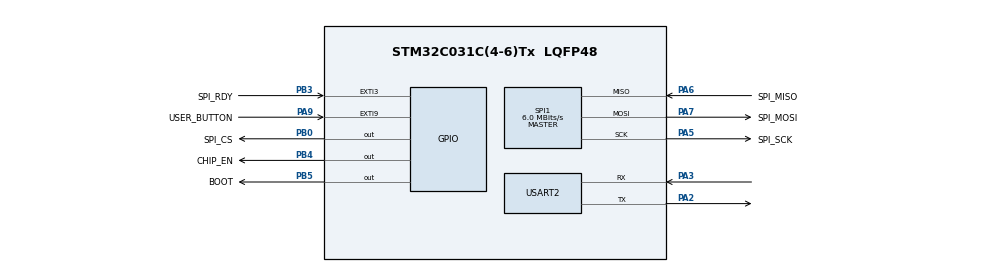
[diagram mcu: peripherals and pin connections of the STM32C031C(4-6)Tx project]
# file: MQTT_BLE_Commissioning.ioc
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Mcu.Family=STM32C0
Mcu.Name=STM32C031C(4-6)Tx
Mcu.Package=LQFP48
NVIC.EXTI2_3_IRQn=true\:0\:0\:false\:false\:true\:true\:true\:true
NVIC.EXTI4_15_IRQn=true\:0\:0\:false\:false\:true\:true\:true\:true
NVIC.TIM1_BRK_UP_TRG_COM_IRQn=true\:0\:0\:false\:false\:true\:true\:true\:true
PA2.GPIO_Speed=GPIO_SPEED_FREQ_VERY_HIGH
PA2.Mode=Asynchronous
PA2.Signal=USART2_TX
PA3.GPIO_Speed=GPIO_SPEED_FREQ_VERY_HIGH
PA3.Mode=Asynchronous
PA3.Signal=USART2_RX
PA5.GPIO_Label=SPI_SCK
PA5.GPIO_Speed=GPIO_SPEED_FREQ_VERY_HIGH
PA5.Mode=Full_Duplex_Master
PA5.Signal=SPI1_SCK
PA6.GPIO_Label=SPI_MISO
PA6.GPIO_Speed=GPIO_SPEED_FREQ_VERY_HIGH
PA6.Mode=Full_Duplex_Master
PA6.Signal=SPI1_MISO
PA7.GPIO_Label=SPI_MOSI
PA7.GPIO_Speed=GPIO_SPEED_FREQ_VERY_HIGH
PA7.Mode=Full_Duplex_Master
PA7.Signal=SPI1_MOSI
PA9.GPIO_Label=USER_BUTTON
PA9.GPIO_ModeDefaultEXTI=GPIO_MODE_IT_FALLING
PA9.GPIO_PuPd=GPIO_PULLUP
PA9.Signal=GPXTI9
PB0.GPIO_Label=SPI_CS
PB0.GPIO_Speed=GPIO_SPEED_FREQ_VERY_HIGH
PB0.Signal=GPIO_Output
PB3.GPIO_Label=SPI_RDY
PB3.GPIO_ModeDefaultEXTI=GPIO_MODE_IT_RISING_FALLING
PB3.Signal=GPXTI3
PB4.GPIO_Label=CHIP_EN
PB4.GPIO_Speed=GPIO_SPEED_FREQ_HIGH
PB4.Signal=GPIO_Output
PB5.GPIO_Label=BOOT
PB5.GPIO_PuPd=GPIO_NOPULL
PB5.GPIO_Speed=GPIO_SPEED_FREQ_HIGH
PB5.Signal=GPIO_Output
PF0-OSC_IN\ (PF0).Mode=HSE-External-Oscillator
PF0-OSC_IN\ (PF0).Signal=RCC_OSC_IN
PF1-OSC_OUT\ (PF1).Mode=HSE-External-Oscillator
PF1-OSC_OUT\ (PF1).Signal=RCC_OSC_OUT
ProjectManager.HeapSize=0x200
ProjectManager.StackSize=0x400
ProjectManager.TargetToolchain=STM32CubeIDE
RCC.ADCFreq_Value=48000000
RCC.AHBFreq_Value=48000000
RCC.CortexFreq_Value=48000000
RCC.EXTERNAL_CLOCK_VALUE=12288000
RCC.HCLKFreq_Value=48000000
RCC.HSE_VALUE=48000000
RCC.HSISYSCLKDivider=RCC_HSI_DIV1
RCC.HSI_VALUE=48000000
RCC.LSE_VALUE=32768
RCC.SYSCLKFreq_VALUE=48000000
RCC.SYSCLKSource=RCC_SYSCLKSOURCE_HSE
SPI1.BaudRatePrescaler=SPI_BAUDRATEPRESCALER_8
SPI1.CalculateBaudRate=6.0 MBits/s
SPI1.Direction=SPI_DIRECTION_2LINES
SPI1.Mode=SPI_MODE_MASTER
SPI1.VirtualType=VM_MASTER
TIM1.Period=49999
TIM1.Prescaler=9599
USART2.VirtualMode-Asynchronous=VM_ASYNC
VP_TIM1_VS_ClockSourceINT.Mode=Internal
board=custom

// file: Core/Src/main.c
/* USER CODE BEGIN Header */
/**
 ******************************************************************************
 * @file           : main.c
 * @brief          : Main program body
 ******************************************************************************
 * @attention
 *
 * Copyright (c) 2025 STMicroelectronics.
 * All rights reserved.
 *
 * This software is licensed under terms that can be found in the LICENSE file
 * in the root directory of this software component.
 * If no LICENSE file comes with this software, it is provided AS-IS.
 *
 ******************************************************************************
 */
/* USER CODE END Header */
#include "main.h"

/* USER CODE BEGIN Includes */
#include "spi_iface.h"
#include "mqtt.h"
#include "ble.h"

/* USER CODE END Includes */

/* USER CODE BEGIN PD */
#define EVT_WIFI_CONNECT                              (1<<0)
#define EVT_WIFI_DISCONNECT                       (1<<1)
#define EVT_WIFI_CONNECT_ERROR                    (1<<2)
#define EVT_MQTT_RECEIVED         (1<<3)
#define EVT_TIM_UPDATE                            (1<<4)
#define EVT_BLE_WRITE                           (1<<5)
#define EVT_WIFI_SCAN_END                           (1<<6)
#define EVT_MQTT_CONNECT                           (1<<7)
#define EVT_BLE_CONNECT                           (1<<8)

#define SET_EVENT_BIT(bit)     (event_bits |= (bit))
#define CLEAR_EVENT_BIT(bit)   (event_bits &= ~(bit))
#define CHECK_EVENT_BIT(bit)   ((event_bits & (bit)) != 0)

/* USER CODE END PD */

/* USER CODE BEGIN PV */
volatile uint8_t wifi_connected = 0;
volatile uint32_t event_bits = 0;
char *mqtt_data_received_ptr = NULL;
char *gatt_data_received_ptr = NULL;

#define COLOR_LEVEL_LIMIT 40
uint8_t color_red = 0, color_green = 0, color_blue = 0;
uint8_t color_red_s = 0, color_green_s = 0, color_blue_s = 0;
float color_scale = 10;

/* USER CODE END PV */

void SystemClock_Config(void);
static void MX_GPIO_Init(void);
static void MX_SPI1_Init(void);
static void MX_USART2_UART_Init(void);
static void MX_TIM1_Init(void);
/* USER CODE BEGIN PFP */
static void report_callback(char *report, int32_t report_len);
void parse_mqtt_received_event(char *data);
int parse_rgb(const char *data, uint8_t *red, uint8_t *green, uint8_t *blue);
int parse_level(const char *data, uint8_t *level);

/* USER CODE END PFP */

/* USER CODE BEGIN 0 */
#if defined(__ICCARM__)
size_t __write(int file, unsigned char const *ptr, size_t len)
{
	size_t idx;
	unsigned char const *pdata = ptr;
	/* USER CODE BEGIN __write_1 */

	/* USER CODE END __write_1 */

	HAL_UART_Transmit(&huart2, pdata, len, 10000);
	return len;
	/* USER CODE BEGIN __write_End */

	/* USER CODE END __write_End */
}
#else

#if defined ( __GNUC__) && !defined(__clang__)
/* With GCC, small printf (option LD Linker->Libraries->Small printf
   set to 'Yes') calls __io_putchar() */
#define PUTCHAR_PROTOTYPE int __io_putchar(int ch)
#else
#define PUTCHAR_PROTOTYPE int fputc(int ch, FILE *f)
#endif

PUTCHAR_PROTOTYPE
{
	/* USER CODE BEGIN PUTCHAR_PROTOTYPE_1 */

	/* USER CODE END PUTCHAR_PROTOTYPE_1 */
	while (!LL_USART_IsActiveFlag_TXE(USART2)){}

	LL_USART_ClearFlag_TC(USART2);
	LL_USART_TransmitData8(USART2, ch);

	return ch;
	/* USER CODE BEGIN PUTCHAR_PROTOTYPE_End */

	/* USER CODE END PUTCHAR_PROTOTYPE_End */
}
#endif /* __ICCARM__ */

/* USER CODE END 0 */

int main(void)
{

  /* MCU Configuration--------------------------------------------------------*/

  /* Reset of all peripherals, Initializes the Flash interface and the Systick. */
  LL_APB2_GRP1_EnableClock(LL_APB2_GRP1_PERIPH_SYSCFG);
  LL_APB1_GRP1_EnableClock(LL_APB1_GRP1_PERIPH_PWR);

  /* SysTick_IRQn interrupt configuration */
  NVIC_SetPriority(SysTick_IRQn, 3);

  /* Configure the system clock */
  SystemClock_Config();

  /* Initialize all configured peripherals */
  MX_GPIO_Init();
  MX_SPI1_Init();
  MX_USART2_UART_Init();
  MX_TIM1_Init();
  /* USER CODE BEGIN 2 */
	int32_t ret = 0;
	char *resp = NULL;

	ret = spi_iface_init(&report_callback);

	spi_iface_command("AT+PWR=0", &resp);
	free(resp);

	Wifi_Init();
	MQTT_Init();
	BLE_Init();

  /* USER CODE END 2 */

  /* Infinite loop */
  /* USER CODE BEGIN WHILE */
	char rssi_data[64] = {0};
	while (1)
	{
		if (CHECK_EVENT_BIT(EVT_WIFI_CONNECT))
		{
			Wifi_Connected();
			MQTT_Connect();
			CLEAR_EVENT_BIT(EVT_WIFI_CONNECT);
		}
		if (CHECK_EVENT_BIT(EVT_MQTT_CONNECT))
		{
			LL_TIM_ClearFlag_UPDATE(TIM1);
			LL_TIM_EnableIT_UPDATE(TIM1);
			LL_TIM_EnableCounter(TIM1);
			CLEAR_EVENT_BIT(EVT_MQTT_CONNECT);
		}
		if (CHECK_EVENT_BIT(EVT_MQTT_RECEIVED))
		{
			parse_mqtt_received_event(mqtt_data_received_ptr);

			color_red_s   = (uint8_t)(color_red   * color_scale);
			color_green_s = (uint8_t)(color_green * color_scale);
			color_blue_s  = (uint8_t)(color_blue  * color_scale);

			free(mqtt_data_received_ptr);
			mqtt_data_received_ptr = NULL;
			CLEAR_EVENT_BIT(EVT_MQTT_RECEIVED);
		}
		if (CHECK_EVENT_BIT(EVT_BLE_CONNECT))
		{
			CLEAR_EVENT_BIT(EVT_BLE_CONNECT);
		}
		if (CHECK_EVENT_BIT(EVT_BLE_WRITE))
		{
			BLE_Handle_Write(gatt_data_received_ptr);

			free(gatt_data_received_ptr);
			gatt_data_received_ptr = NULL;
			CLEAR_EVENT_BIT(EVT_BLE_WRITE);
		}
		if (CHECK_EVENT_BIT(EVT_WIFI_SCAN_END))
		{
			Wifi_Scan_End();
			CLEAR_EVENT_BIT(EVT_WIFI_SCAN_END);
		}
		if (CHECK_EVENT_BIT(EVT_TIM_UPDATE) && wifi_connected)
		{
			int rssi;

			spi_iface_command("AT+CWJAP?", &resp);

			char *last = strrchr(resp, ',');
			char *second_last = NULL;
			*last = '\0';
			second_last = strrchr(resp, ',');
			*last = ','; // restore string

			rssi = atoi(second_last + 1);
			free(resp);

			snprintf(rssi_data, 64, MQTT_RSSI_MSG, rssi);
			MQTT_Publish(MQTT_TOPIC_RSSI, (const char *) &rssi_data);
			CLEAR_EVENT_BIT(EVT_TIM_UPDATE);
		}
    /* USER CODE END WHILE */

	}
}

void SystemClock_Config(void)
{

  LL_FLASH_SetLatency(LL_FLASH_LATENCY_1);

  /* HSE configuration and activation */
  LL_RCC_HSE_Enable();
  while(LL_RCC_HSE_IsReady() != 1)
  {
  }

  /* Set AHB prescaler*/
  LL_RCC_SetAHBPrescaler(LL_RCC_HCLK_DIV_1);

  /* Sysclk activation on the HSE */
  LL_RCC_SetSysClkSource(LL_RCC_SYS_CLKSOURCE_HSE);
  while(LL_RCC_GetSysClkSource() != LL_RCC_SYS_CLKSOURCE_STATUS_HSE)
  {
  }

  /* Set APB1 prescaler*/
  LL_RCC_SetAPB1Prescaler(LL_RCC_APB1_DIV_1);
  LL_Init1msTick(48000000);
  /* Update CMSIS variable (which can be updated also through SystemCoreClockUpdate function) */
  LL_SetSystemCoreClock(48000000);
}

static void MX_SPI1_Init(void)
{

  LL_SPI_InitTypeDef SPI_InitStruct = {0};

  LL_GPIO_InitTypeDef GPIO_InitStruct = {0};

  LL_RCC_SetI2SClockSource(LL_RCC_I2S1_CLKSOURCE_SYSCLK);

  /* Peripheral clock enable */
  LL_APB2_GRP1_EnableClock(LL_APB2_GRP1_PERIPH_SPI1);

  LL_IOP_GRP1_EnableClock(LL_IOP_GRP1_PERIPH_GPIOA);
  /**SPI1 GPIO Configuration
  PA5   ------> SPI1_SCK
  PA6   ------> SPI1_MISO
  PA7   ------> SPI1_MOSI
  */
  GPIO_InitStruct.Pin = SPI_SCK_Pin;
  GPIO_InitStruct.Mode = LL_GPIO_MODE_ALTERNATE;
  GPIO_InitStruct.Speed = LL_GPIO_SPEED_FREQ_VERY_HIGH;
  GPIO_InitStruct.OutputType = LL_GPIO_OUTPUT_PUSHPULL;
  GPIO_InitStruct.Pull = LL_GPIO_PULL_NO;
  GPIO_InitStruct.Alternate = LL_GPIO_AF_0;
  LL_GPIO_Init(SPI_SCK_GPIO_Port, &GPIO_InitStruct);

  GPIO_InitStruct.Pin = SPI_MISO_Pin;
  GPIO_InitStruct.Mode = LL_GPIO_MODE_ALTERNATE;
  GPIO_InitStruct.Speed = LL_GPIO_SPEED_FREQ_VERY_HIGH;
  GPIO_InitStruct.OutputType = LL_GPIO_OUTPUT_PUSHPULL;
  GPIO_InitStruct.Pull = LL_GPIO_PULL_NO;
  GPIO_InitStruct.Alternate = LL_GPIO_AF_0;
  LL_GPIO_Init(SPI_MISO_GPIO_Port, &GPIO_InitStruct);

  GPIO_InitStruct.Pin = SPI_MOSI_Pin;
  GPIO_InitStruct.Mode = LL_GPIO_MODE_ALTERNATE;
  GPIO_InitStruct.Speed = LL_GPIO_SPEED_FREQ_VERY_HIGH;
  GPIO_InitStruct.OutputType = LL_GPIO_OUTPUT_PUSHPULL;
  GPIO_InitStruct.Pull = LL_GPIO_PULL_NO;
  GPIO_InitStruct.Alternate = LL_GPIO_AF_0;
  LL_GPIO_Init(SPI_MOSI_GPIO_Port, &GPIO_InitStruct);

  /* SPI1 parameter configuration*/
  SPI_InitStruct.TransferDirection = LL_SPI_FULL_DUPLEX;
  SPI_InitStruct.Mode = LL_SPI_MODE_MASTER;
  SPI_InitStruct.DataWidth = LL_SPI_DATAWIDTH_8BIT;
  SPI_InitStruct.ClockPolarity = LL_SPI_POLARITY_LOW;
  SPI_InitStruct.ClockPhase = LL_SPI_PHASE_1EDGE;
  SPI_InitStruct.NSS = LL_SPI_NSS_SOFT;
  SPI_InitStruct.BaudRate = LL_SPI_BAUDRATEPRESCALER_DIV8;
  SPI_InitStruct.BitOrder = LL_SPI_MSB_FIRST;
  SPI_InitStruct.CRCCalculation = LL_SPI_CRCCALCULATION_DISABLE;
  SPI_InitStruct.CRCPoly = 7;
  LL_SPI_Init(SPI1, &SPI_InitStruct);
  LL_SPI_SetStandard(SPI1, LL_SPI_PROTOCOL_MOTOROLA);
  LL_SPI_EnableNSSPulseMgt(SPI1);

}

static void MX_TIM1_Init(void)
{

  LL_TIM_InitTypeDef TIM_InitStruct = {0};

  /* Peripheral clock enable */
  LL_APB2_GRP1_EnableClock(LL_APB2_GRP1_PERIPH_TIM1);

  /* TIM1 interrupt Init */
  NVIC_SetPriority(TIM1_BRK_UP_TRG_COM_IRQn, 0);
  NVIC_EnableIRQ(TIM1_BRK_UP_TRG_COM_IRQn);

  TIM_InitStruct.Prescaler = 9599;
  TIM_InitStruct.CounterMode = LL_TIM_COUNTERMODE_UP;
  TIM_InitStruct.Autoreload = 49999;
  TIM_InitStruct.ClockDivision = LL_TIM_CLOCKDIVISION_DIV1;
  TIM_InitStruct.RepetitionCounter = 0;
  LL_TIM_Init(TIM1, &TIM_InitStruct);
  LL_TIM_DisableARRPreload(TIM1);
  LL_TIM_SetClockSource(TIM1, LL_TIM_CLOCKSOURCE_INTERNAL);
  LL_TIM_SetTriggerOutput(TIM1, LL_TIM_TRGO_RESET);
  LL_TIM_SetTriggerOutput2(TIM1, LL_TIM_TRGO2_RESET);
  LL_TIM_DisableMasterSlaveMode(TIM1);

}

static void MX_USART2_UART_Init(void)
{

  LL_USART_InitTypeDef USART_InitStruct = {0};

  LL_GPIO_InitTypeDef GPIO_InitStruct = {0};

  /* Peripheral clock enable */
  LL_APB1_GRP1_EnableClock(LL_APB1_GRP1_PERIPH_USART2);

  LL_IOP_GRP1_EnableClock(LL_IOP_GRP1_PERIPH_GPIOA);
  /**USART2 GPIO Configuration
  PA2   ------> USART2_TX
  PA3   ------> USART2_RX
  */
  GPIO_InitStruct.Pin = LL_GPIO_PIN_2;
  GPIO_InitStruct.Mode = LL_GPIO_MODE_ALTERNATE;
  GPIO_InitStruct.Speed = LL_GPIO_SPEED_FREQ_VERY_HIGH;
  GPIO_InitStruct.OutputType = LL_GPIO_OUTPUT_PUSHPULL;
  GPIO_InitStruct.Pull = LL_GPIO_PULL_NO;
  GPIO_InitStruct.Alternate = LL_GPIO_AF_1;
  LL_GPIO_Init(GPIOA, &GPIO_InitStruct);

  GPIO_InitStruct.Pin = LL_GPIO_PIN_3;
  GPIO_InitStruct.Mode = LL_GPIO_MODE_ALTERNATE;
  GPIO_InitStruct.Speed = LL_GPIO_SPEED_FREQ_VERY_HIGH;
  GPIO_InitStruct.OutputType = LL_GPIO_OUTPUT_PUSHPULL;
  GPIO_InitStruct.Pull = LL_GPIO_PULL_NO;
  GPIO_InitStruct.Alternate = LL_GPIO_AF_1;
  LL_GPIO_Init(GPIOA, &GPIO_InitStruct);

  USART_InitStruct.PrescalerValue = LL_USART_PRESCALER_DIV1;
  USART_InitStruct.BaudRate = 115200;
  USART_InitStruct.DataWidth = LL_USART_DATAWIDTH_8B;
  USART_InitStruct.StopBits = LL_USART_STOPBITS_1;
  USART_InitStruct.Parity = LL_USART_PARITY_NONE;
  USART_InitStruct.TransferDirection = LL_USART_DIRECTION_TX_RX;
  USART_InitStruct.HardwareFlowControl = LL_USART_HWCONTROL_NONE;
  USART_InitStruct.OverSampling = LL_USART_OVERSAMPLING_16;
  LL_USART_Init(USART2, &USART_InitStruct);
  LL_USART_ConfigAsyncMode(USART2);

  LL_USART_Enable(USART2);

  /* Polling USART2 initialisation */
  while((!(LL_USART_IsActiveFlag_TEACK(USART2))) || (!(LL_USART_IsActiveFlag_REACK(USART2))))
  {
  }

}

static void MX_GPIO_Init(void)
{
  LL_EXTI_InitTypeDef EXTI_InitStruct = {0};
  LL_GPIO_InitTypeDef GPIO_InitStruct = {0};

  /* GPIO Ports Clock Enable */
  LL_IOP_GRP1_EnableClock(LL_IOP_GRP1_PERIPH_GPIOF);
  LL_IOP_GRP1_EnableClock(LL_IOP_GRP1_PERIPH_GPIOA);
  LL_IOP_GRP1_EnableClock(LL_IOP_GRP1_PERIPH_GPIOB);

  /**/
  LL_GPIO_ResetOutputPin(SPI_CS_GPIO_Port, SPI_CS_Pin);

  /**/
  LL_GPIO_ResetOutputPin(CHIP_EN_GPIO_Port, CHIP_EN_Pin);

  /**/
  LL_GPIO_ResetOutputPin(BOOT_GPIO_Port, BOOT_Pin);

  /**/
  GPIO_InitStruct.Pin = SPI_CS_Pin;
  GPIO_InitStruct.Mode = LL_GPIO_MODE_OUTPUT;
  GPIO_InitStruct.Speed = LL_GPIO_SPEED_FREQ_VERY_HIGH;
  GPIO_InitStruct.OutputType = LL_GPIO_OUTPUT_PUSHPULL;
  GPIO_InitStruct.Pull = LL_GPIO_PULL_NO;
  LL_GPIO_Init(SPI_CS_GPIO_Port, &GPIO_InitStruct);

  /**/
  GPIO_InitStruct.Pin = CHIP_EN_Pin;
  GPIO_InitStruct.Mode = LL_GPIO_MODE_OUTPUT;
  GPIO_InitStruct.Speed = LL_GPIO_SPEED_FREQ_HIGH;
  GPIO_InitStruct.OutputType = LL_GPIO_OUTPUT_PUSHPULL;
  GPIO_InitStruct.Pull = LL_GPIO_PULL_NO;
  LL_GPIO_Init(CHIP_EN_GPIO_Port, &GPIO_InitStruct);

  /**/
  GPIO_InitStruct.Pin = BOOT_Pin;
  GPIO_InitStruct.Mode = LL_GPIO_MODE_OUTPUT;
  GPIO_InitStruct.Speed = LL_GPIO_SPEED_FREQ_HIGH;
  GPIO_InitStruct.OutputType = LL_GPIO_OUTPUT_PUSHPULL;
  GPIO_InitStruct.Pull = LL_GPIO_PULL_NO;
  LL_GPIO_Init(BOOT_GPIO_Port, &GPIO_InitStruct);

  /**/
  EXTI_InitStruct.Line_0_31 = LL_EXTI_LINE_9;
  EXTI_InitStruct.LineCommand = ENABLE;
  EXTI_InitStruct.Mode = LL_EXTI_MODE_IT;
  EXTI_InitStruct.Trigger = LL_EXTI_TRIGGER_FALLING;
  LL_EXTI_Init(&EXTI_InitStruct);

  /**/
  EXTI_InitStruct.Line_0_31 = LL_EXTI_LINE_3;
  EXTI_InitStruct.LineCommand = ENABLE;
  EXTI_InitStruct.Mode = LL_EXTI_MODE_IT;
  EXTI_InitStruct.Trigger = LL_EXTI_TRIGGER_RISING_FALLING;
  LL_EXTI_Init(&EXTI_InitStruct);

  /**/
  LL_GPIO_SetPinMode(USER_BUTTON_GPIO_Port, USER_BUTTON_Pin, LL_GPIO_MODE_INPUT);

  /**/
  LL_GPIO_SetPinMode(SPI_RDY_GPIO_Port, SPI_RDY_Pin, LL_GPIO_MODE_INPUT);

  /**/
  LL_GPIO_SetPinPull(USER_BUTTON_GPIO_Port, USER_BUTTON_Pin, LL_GPIO_PULL_UP);

  /**/
  LL_GPIO_SetPinPull(SPI_RDY_GPIO_Port, SPI_RDY_Pin, LL_GPIO_PULL_NO);

  /**/
  LL_EXTI_SetEXTISource(LL_EXTI_CONFIG_PORTA, LL_EXTI_CONFIG_LINE9);

  /**/
  LL_EXTI_SetEXTISource(LL_EXTI_CONFIG_PORTB, LL_EXTI_CONFIG_LINE3);

  /* EXTI interrupt init*/
  NVIC_SetPriority(EXTI2_3_IRQn, 0);
  NVIC_EnableIRQ(EXTI2_3_IRQn);
  NVIC_SetPriority(EXTI4_15_IRQn, 0);
  NVIC_EnableIRQ(EXTI4_15_IRQn);

}

/* USER CODE BEGIN 4 */
static void report_callback(char *report, int32_t report_len)
{
	// ignore the 'busy' messages
	if (report_len == 14 && strncmp(report, "\r\nbusy p...\r\n", 14) == 0) {free(report); return;}

	printf("Report: %s", report);

	if (strncmp(report, "+CW:GOTIP\r\n", 12) == 0)
	{
		SET_EVENT_BIT(EVT_WIFI_CONNECT);
		wifi_connected = 1;
	}
	else if (strncmp(report, "+CW:DISCONNECTED", 16) == 0)
	{
		SET_EVENT_BIT(EVT_WIFI_DISCONNECT);
		wifi_connected = 0;
	}
	else if (strncmp(report, "+CWLAP", 6) == 0)
	{
		Wifi_Scan_Report(report);
	}
	else if (strncmp(report, "+CW:SCAN_DONE", 13) == 0)
	{
		SET_EVENT_BIT(EVT_WIFI_SCAN_END);
	}
	else if (strncmp(report, "+MQTT:SUBRECV", 13) == 0)
	{
		mqtt_data_received_ptr = calloc(report_len, 1);
		memcpy(mqtt_data_received_ptr, report, report_len);
		SET_EVENT_BIT(EVT_MQTT_RECEIVED);
	}
	else if (strncmp(report, "+MQTT:CONNECTED", 15) == 0)
	{
		SET_EVENT_BIT(EVT_MQTT_CONNECT);
	}
	else if (strncmp(report, "+BLE:CONNECTED:", 15) == 0)
	{
		SET_EVENT_BIT(EVT_BLE_CONNECT);
	}
	else if (strncmp(report, "+BLE:DISCONNECTED:", 18) == 0)
	{
	}
	else if (strncmp(report, "+BLE:GATTWRITE:", 15) == 0)
	{
		gatt_data_received_ptr = calloc(report_len, 1);
		memcpy(gatt_data_received_ptr, report, report_len);
		SET_EVENT_BIT(EVT_BLE_WRITE);
	}

	free(report);
}

int parse_rgb(const char *data, uint8_t *red, uint8_t *green, uint8_t *blue)
{
	int r = -1, g = -1, b = -1;
	const char *p;

	// Find "R"
	p = strstr(data, "\"R\"");
	if (p) {
		p = strchr(p, ':');
		if (p) r = atoi(p + 1);
	}

	// Find "G"
	p = strstr(data, "\"G\"");
	if (p) {
		p = strchr(p, ':');
		if (p) g = atoi(p + 1);
	}

	// Find "B"
	p = strstr(data, "\"B\"");
	if (p) {
		p = strchr(p, ':');
		if (p) b = atoi(p + 1);
	}

	if (r >= 0 && g >= 0 && b >= 0) {
		*red = (uint8_t)r;
		*green = (uint8_t)g;
		*blue = (uint8_t)b;
		return 1;
	}
	return 0;
}

/**
 * @brief Parse Level value from a string and assign to output variable.
 * @param data      Input string containing JSON with "Level" field.
 * @param level     Pointer to uint8_t for the Level value.
 * @return 1 if value found, 0 otherwise.
 */
int parse_level(const char *data, uint8_t *level)
{
	int lvl = -1;
	const char *p;

	// Find "Level"
	p = strstr(data, "\"Level\"");
	if (p) {
		p = strchr(p, ':');
		if (p) lvl = atoi(p + 1);
	}

	if (lvl >= 0) {
		*level = (uint8_t)lvl;
		return 1;
	}
	return 0;
}

void parse_mqtt_received_event(char *data)
{
	int is_rgb, is_lvl;
	uint8_t raw_red = 0, raw_green = 0, raw_blue = 0, raw_level = 0;

	is_rgb = parse_rgb(data, &raw_red, &raw_green, &raw_blue);
	is_lvl = parse_level(data, &raw_level);

	if (is_rgb ) {
		color_red   = raw_red;
		color_green = raw_green;
		color_blue  = raw_blue;
	} else if (is_lvl) {
#if (COLOR_LEVEL_LIMIT > 0)
		if (raw_level > COLOR_LEVEL_LIMIT) raw_level = COLOR_LEVEL_LIMIT;
#endif
		color_scale = raw_level / 100.0f;
	}
}

void GPIO_EXTI_Rising_Callback(uint16_t pin)
{
	/* USER CODE BEGIN EXTI_Rising_Callback_1 */

	/* USER CODE END EXTI_Rising_Callback_1 */
	/* Callback when data is available in Network CoProcessor to enable SPI Clock */
	if (pin == SPI_RDY_Pin)
	{
		spi_iface_ncp_ready_high();
	}
	/* USER CODE BEGIN EXTI_Rising_Callback_End */

	/* USER CODE END EXTI_Rising_Callback_End */
}

void GPIO_EXTI_Falling_Callback(uint16_t pin)
{
	/* USER CODE BEGIN EXTI_Falling_Callback_1 */

	/* USER CODE END EXTI_Falling_Callback_1 */
	/* Callback when data is available in Network CoProcessor to enable SPI Clock */
	if (pin == SPI_RDY_Pin)
	{
		spi_iface_ncp_ready_low();
	}

	/* Callback when user button is pressed */
	if (pin == USER_BUTTON_Pin)
	{
		SET_EVENT_BIT(EVT_TIM_UPDATE);
	}
	/* USER CODE BEGIN EXTI_Falling_Callback_End */

	/* USER CODE END EXTI_Falling_Callback_End */
}

void TimerUpdate_Callback()
{
	SET_EVENT_BIT(EVT_TIM_UPDATE);
}

/* USER CODE END 4 */

void Error_Handler(void)
{
	__disable_irq();
	while (1)
	{
	}
}
